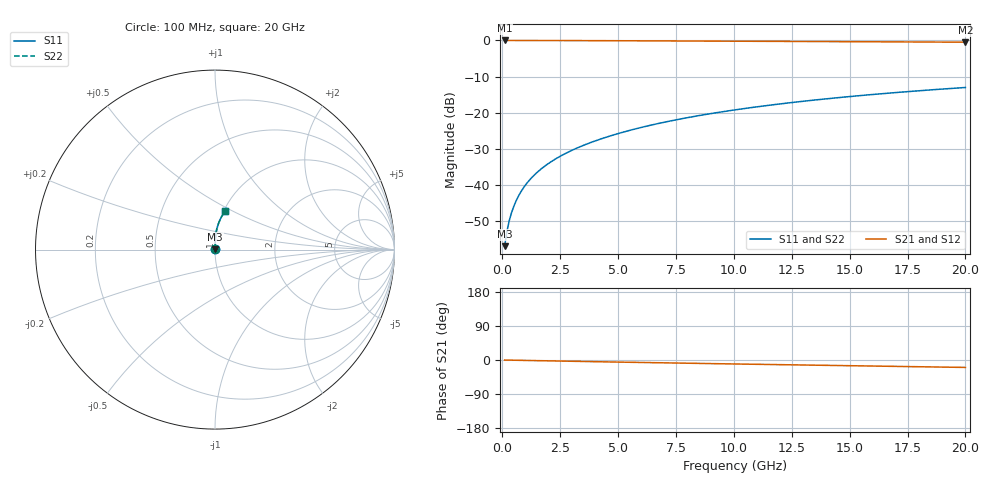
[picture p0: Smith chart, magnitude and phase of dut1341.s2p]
! Touchstone file exported from HFSS 2024.1.0
!  File:  C:/UserFiles/LocalFiles/RDL_TSV_Batchsim/temp_RDL_top_1341_1780365828.aedt
!  Generated:  10:06:27 AM Jun  2, 2026
!  Design:  RDL_top
!  Project:  temp_RDL_top_1341_1780365828
!  Setup:  Setup1
!  Solution:  Sweep
! Variables:
!  dtsv = 10.80580581um
!  hbump = 3um
!  htsv = 68.33um
!  ldown = 100um
!  lrdl = 228.06um
!  p = 40
!  p1 = 59.68um
!  rhole = 1um
!  t = 450um
!  tdown = 3.915915916um
!  trdl = 4.43um
!  wdown = 15.38538539um
!  wrdl = 23.02um
# GHz S MA R 50.000000
! Terminal data exported
! Port[1] = Box2_T1
! Port[2] = Box2_T2
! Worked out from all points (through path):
!   200 points, 100 MHz to 20 GHz, reference 50 ohm
!   highest |S21| = -0.01 dB at 100 MHz (marker M1); lowest = -0.5 dB at 20 GHz (marker M2)
!   group delay of S21, straight-line fit = 2.69 ps
!   lowest |S11| = -56.9 dB at 100 MHz (marker M3), VSWR 1.00, Z = 50.1 + j0.106 ohm
!   |S11| at or under -10 dB: start of sweep to end of sweep
!   |S22| runs from -56.9 to -13.0 dB; largest |S21 - S12| = 4.3e-15
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0.1  0.001432 47.5  0.999 -0.1  0.999 -0.1  0.001432 47.5
! Gamma 0 0 0 0
! Port Impedance 50 0 50 0
0.2  0.002296 63.8  0.999 -0.2  0.999 -0.2  0.002296 63.8
0.3  0.003216 71.1  0.9989 -0.4  0.9989 -0.4  0.003216 71.1
0.4  0.00416 75.3  0.9988 -0.5  0.9988 -0.5  0.00416 75.3
0.5  0.005117 78.0  0.9988 -0.6  0.9988 -0.6  0.005117 78.0
0.7  0.007058 81.3  0.9986 -0.8  0.9986 -0.8  0.007058 81.3
0.8  0.008036 82.4  0.9986 -0.9  0.9986 -0.9  0.008036 82.4
1  0.01 84.0  0.9984 -1.1  0.9984 -1.1  0.01 84.0
1.2  0.01198 85.0  0.9982 -1.4  0.9982 -1.4  0.01198 85.0
1.4  0.01396 85.8  0.998 -1.6  0.998 -1.6  0.01396 85.8
1.7  0.01696 86.6  0.9976 -1.9  0.9976 -1.9  0.01696 86.6
2  0.01997 87.2  0.9972 -2.3  0.9972 -2.3  0.01997 87.2
2.7  0.02709 88.1  0.996 -3.1  0.996 -3.1  0.02709 88.1
3.5  0.0354 88.7  0.9942 -3.9  0.9942 -3.9  0.0354 88.7
4.2  0.04285 88.8  0.9925 -4.7  0.9925 -4.7  0.04285 88.8
5  0.05155 88.8  0.9904 -5.5  0.9904 -5.5  0.05155 88.8
6.8  0.07178 88.1  0.9852 -7.3  0.9852 -7.3  0.07178 88.1
8.4  0.09031 87.0  0.9805 -8.9  0.9805 -8.9  0.09031 87.0
10.1  0.1103 85.5  0.9755 -10.5  0.9755 -10.5  0.1103 85.5
13.4  0.149 82.2  0.9658 -13.6  0.9658 -13.6  0.149 82.2
16.7  0.1869 78.7  0.9559 -16.6  0.9559 -16.6  0.1869 78.7
20  0.2237 75.3  0.9455 -19.6  0.9455 -19.6  0.2237 75.3
